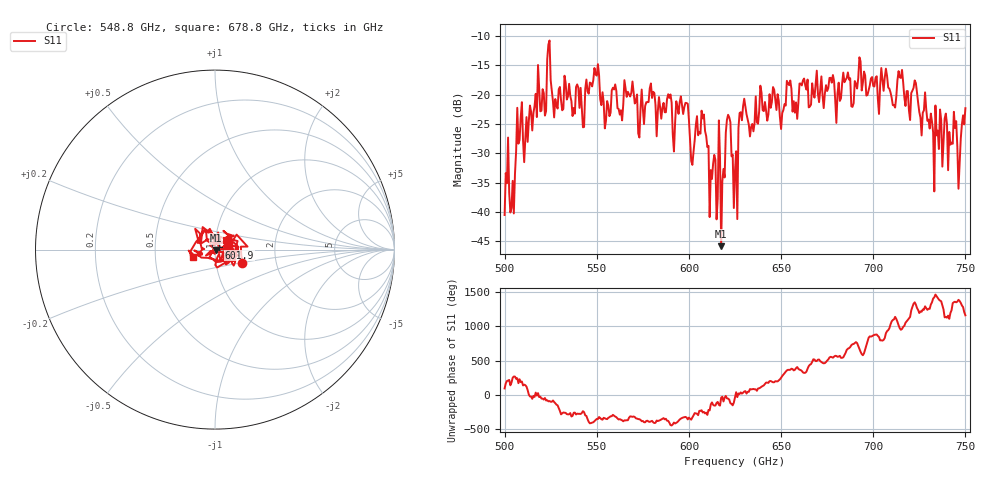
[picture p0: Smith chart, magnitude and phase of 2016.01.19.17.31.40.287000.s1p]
!Created with skrf (http://scikit-rf.org).
# GHz S RI R 50.0
!freq ReS11 ImS11
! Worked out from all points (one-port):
!   401 points, 500 GHz to 750 GHz, reference 50 ohm
!   lowest |S11| = -45.8 dB at 617.5 GHz (marker M1), VSWR 1.01, Z = 50.4 - j0.346 ohm
!   |S11| at or under -10 dB: start of sweep to end of sweep
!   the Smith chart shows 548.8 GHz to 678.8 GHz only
!   S11 on the Smith chart (normalised r, x): 548.8 GHz: 1.34, -0.20; 601.9 GHz: 1.04, +0.03; 678.8 GHz: 0.78, -0.06
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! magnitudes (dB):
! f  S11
! 500 GHz  -40.5
! 504.4 GHz  -34.7
! 508.1 GHz  -27.7
! 521.2 GHz  -19.7
! 524.4 GHz  -10.8
! 527.5 GHz  -20.7
! 531.2 GHz  -22.7
! 541.9 GHz  -22.2
! 548.8 GHz  -15.5
! 562.5 GHz  -23.4
! 593.8 GHz  -22.0
! 598.8 GHz  -21.4
! 601.9 GHz  -32.0
! 608.1 GHz  -23.4
! 611.2 GHz  -40.9
! 617.5 GHz  -45.8
! 618.8 GHz  -32.7
! 621.2 GHz  -23.4
! 625 GHz  -33.0
! 628.8 GHz  -24.4
! 656.2 GHz  -22.9
! 678.8 GHz  -17.7
! 687.5 GHz  -17.2
! 711.2 GHz  -21.8
! 714.4 GHz  -17.0
! 718.8 GHz  -19.4
! 746.9 GHz  -31.6
! 750 GHz  -22.3
